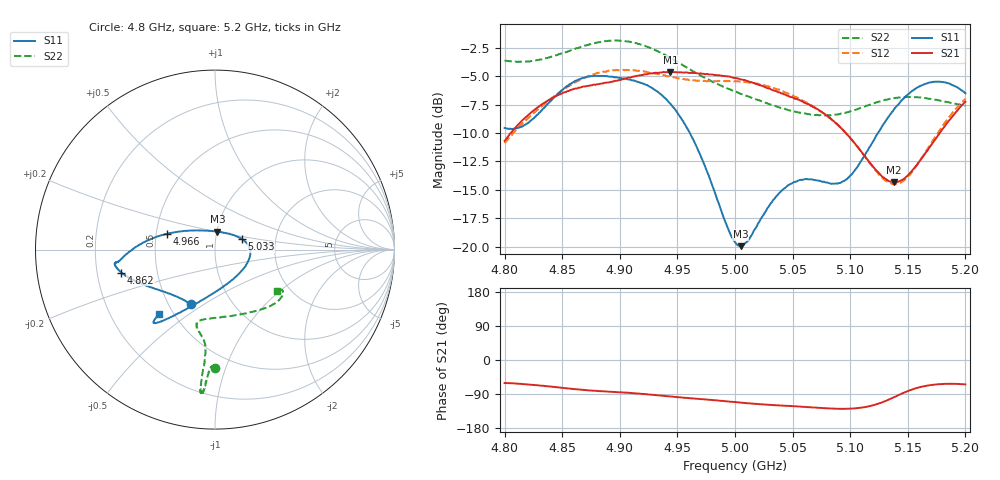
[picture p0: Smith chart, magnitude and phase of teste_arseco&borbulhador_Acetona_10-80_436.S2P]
! Network Analyzer HP8722D
! Hewlett-Packard
! Data name: Linha & Wilkinson
! Saver's name: Rodrigo Anjos
! Comments: Teste da utilização de aquisição
! continua pelo VNA HP8722D
! Time and date: 17/4/2025 17:59
!  Frequency  S11  S21  S12  S22
# HZ  S  MA R 50
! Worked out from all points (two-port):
!   401 points, 4.8 GHz to 5.2 GHz, reference 50 ohm
!   highest |S21| = -4.62 dB at 4.944 GHz (marker M1); lowest = -14.3 dB at 5.138 GHz (marker M2)
!   |S21| within 3 dB of the highest: 4.83 GHz to 5.066 GHz (235.4 MHz wide, 4.76 % of centre); 5.196368 GHz to end of sweep
!   lowest |S11| = -19.9 dB at 5.005 GHz (marker M3), VSWR 1.22, Z = 50.4 + j10.1 ohm
!   |S11| at or under -10 dB: 4.961 GHz to 5.124 GHz (163.2 MHz wide, 3.24 % of centre)
!   |S22| runs from -8.5 to -1.9 dB; largest |S21 - S12| = 0.88
!   S11 on the Smith chart (normalised r, x): 4.8 GHz: 0.65, -0.44; 4.862 GHz: 0.30, -0.11; 4.966 GHz: 0.57, +0.11; 5.033 GHz: 1.34, +0.17; 5.2 GHz: 0.42, -0.39
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4.8e9  0.3329 -113.5  0.2923 -60.7  0.2858 -174.9  0.6581 -90.1
4.819e9  0.3474 -133.6  0.3735 -64.1  0.362 -173.7  0.6526 -91.6
4.862e9  0.5377 -166.2  0.496 -77.1  0.5312 -176.9  0.7453 -93.9
4.867e9  0.55 -168.1  0.504 -78.8  0.5466 -177.9  0.7585 -94.0
4.898e9  0.5548 -172.7  0.5371 -84.7  0.5978 175.8  0.8067 -95.3
4.934e9  0.4748 -178.7  0.5826 -93.4  0.5748 171.9  0.718 -95.9
4.944e9  0.4253 176.6  0.5873 -96.3  0.5592 171.9  0.6762 -95.7
4.966e9  0.2793 161.6  0.5802 -102.1  0.5375 173.8  0.5813 -95.2
5e9  0.1049 99.1  0.5526 -111.3  0.535 176.1  0.4814 -99.3
5.005e9  0.1006 82.2  0.5442 -112.5  0.532 176.1  0.4698 -100.4
5.012e9  0.1075 60.0  0.5323 -114.1  0.5269 175.8  0.4571 -101.9
5.033e9  0.1603 22.1  0.4873 -118.9  0.4982 174.9  0.4187 -103.7
5.049e9  0.1896 5.6  0.4549 -121.6  0.465 174.2  0.3966 -99.9
5.067e9  0.1978 -13.7  0.4147 -125.1  0.4174 173.6  0.3807 -90.6
5.086e9  0.1894 -43.8  0.3559 -128.5  0.3546 173.7  0.3807 -76.2
5.097e9  0.1982 -66.6  0.3127 -128.7  0.3132 174.6  0.3899 -67.2
5.134e9  0.377 -116.8  0.194 -103.8  0.191 -156.8  0.4466 -43.0
5.138e9  0.402 -119.0  0.192 -98.2  0.1889 -150.4  0.4497 -41.2
5.151e9  0.4711 -124.8  0.2084 -80.9  0.2062 -130.3  0.4556 -36.4
5.17e9  0.5281 -129.2  0.2786 -66.1  0.2839 -112.4  0.4468 -32.0
5.184e9  0.5249 -130.6  0.3498 -63.1  0.3609 -107.1  0.433 -31.0
5.2e9  0.4728 -130.9  0.4337 -64.4  0.4468 -106.5  0.4163 -33.4
